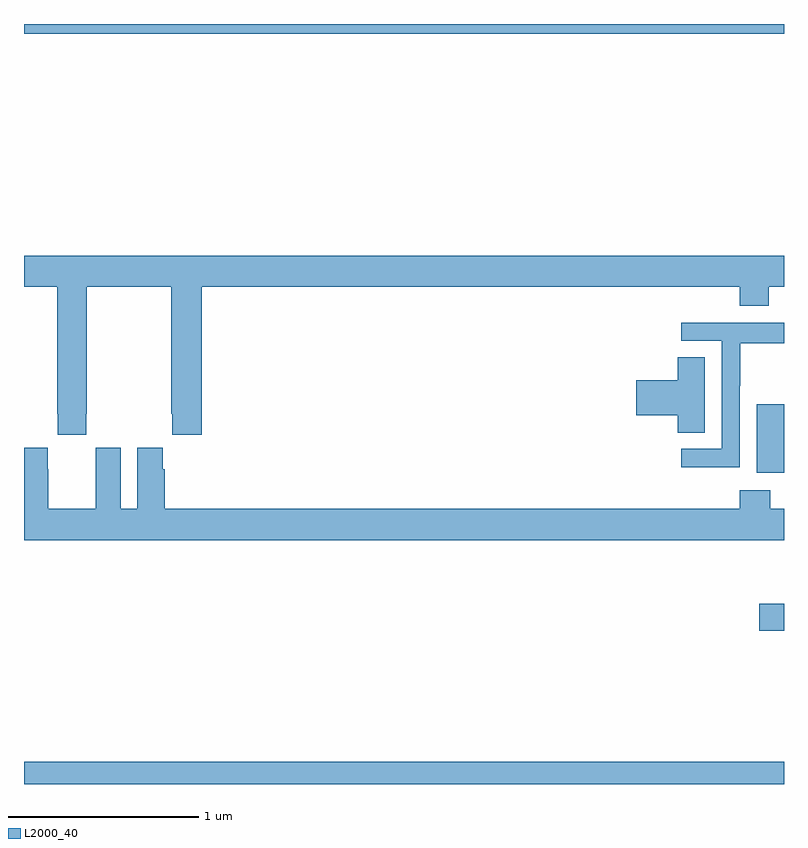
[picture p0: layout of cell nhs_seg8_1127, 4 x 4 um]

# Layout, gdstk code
import gdstk
lib = gdstk.Library(unit=1e-6, precision=1e-09)
def R(c, l, rs):  # rectangles x0, y0, x1, y1
    for r in rs: c.add(gdstk.rectangle(r[:2], r[2:], *l))
def P(c, l, *ps):  # polygons
    for p in ps: c.add(gdstk.Polygon(p, *l))
L2000_40 = (2000, 40)

nhs_seg8_1127 = lib.new_cell('nhs_seg8_1127')
R(nhs_seg8_1127, L2000_40, [(183,1097.9,187,1098.016), (186.87,1098.707,187,1098.849), (186.857,1099.538,187,1099.899), (183,1101.848,187,1101.9)])
P(nhs_seg8_1127, L2000_40, [(183,1100.516),(183.175,1100.516),(183.175,1099.849),(183.177,1099.849),(183.177,1099.737),(183.327,1099.737),(183.327,1099.849),(183.33,1099.849),(183.33,1100.516),(183.775,1100.516),(183.775,1099.849),(183.781,1099.849),(183.781,1099.737),(183.935,1099.737),(183.935,1100.516),(186.767,1100.516),(186.767,1100.417),(186.919,1100.417),(186.919,1100.516),(187,1100.516),(187,1100.68),(183,1100.68)],
  [(186.768,1099.996),(186.771,1099.996),(186.771,1100.22),(187,1100.22),(187,1100.328),(186.459,1100.328),(186.459,1100.232),(186.672,1100.232),(186.672,1099.665),(186.459,1099.665),(186.459,1099.567),(186.768,1099.567)],
  [(186.583,1100.147),(186.44,1100.147),(186.44,1100.024),(186.222,1100.024),(186.222,1099.841),(186.44,1099.841),(186.44,1099.75),(186.583,1099.75)],
  [(187,1099.348),(186.927,1099.348),(186.927,1099.447),(186.767,1099.447),(186.767,1099.348),(183.74,1099.348),(183.74,1099.556),(183.73,1099.556),(183.73,1099.669),(183.596,1099.669),(183.596,1099.348),(183.508,1099.348),(183.508,1099.669),(183.378,1099.669),(183.378,1099.556),(183.377,1099.556),(183.377,1099.348),(183.127,1099.348),(183.127,1099.556),(183.126,1099.556),(183.126,1099.669),(183,1099.669),(183,1099.184),(187,1099.184)])

lib.write_gds('nhs_seg8_1127.gds')
